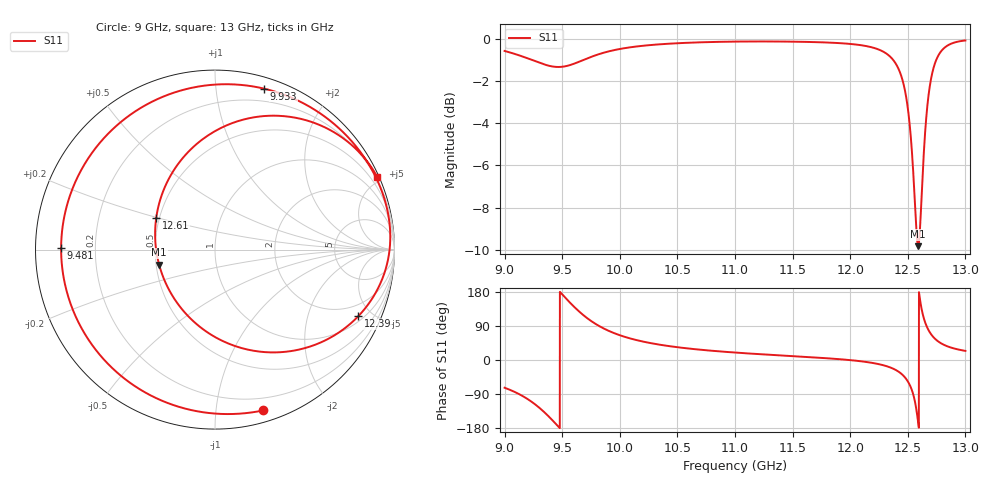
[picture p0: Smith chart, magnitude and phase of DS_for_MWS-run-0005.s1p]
! TOUCHSTONE file generated by CST DESIGN STUDIO
! Date and time: Tue Feb  4 17:42:37 2025
! Project name: C:\Work\MatlabApps\UnitCellOptimizationMatlab\CST\unitcell.cst
! Tree item: Tasks\Sweep1\SPara1\S-Parameters
! Header version: 2024
! Port assignment regex: !\s*Touchstone port\s*([0-9]+)\s*=\s*(CST MWS port|CST DES external port|CST DES block port)\s*(.+)\s* \(\"(.*)\"\)(\s*mode\s*([0-9]+))?.*
! Touchstone port assignment:
! Touchstone port 1 = CST DES external port 1 ("")
# GHz S MA R 50
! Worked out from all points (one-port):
!   4001 points, 9 GHz to 13 GHz, reference 50 ohm
!   lowest |S11| = -9.8 dB at 12.59 GHz (marker M1), VSWR 1.95, Z = 26 - j4.9 ohm
!   |S11| at or under -10 dB: nowhere
!   S11 on the Smith chart (normalised r, x): 9 GHz: 0.09, -1.34; 9.481 GHz: 0.08, +0.00; 9.933 GHz: 0.09, +1.35; 12.39 GHz: 1.26, -4.16; 12.61 GHz: 0.48, +0.20; 13 GHz: 0.11, +4.69
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9  0.9356 -73.2
9.155  0.9078 -94.9
9.267  0.8844 -117.6
9.366  0.8656 -143.9
9.481  0.8574 179.5
9.5  0.8582 173.2
9.604  0.8729 140.2
9.696  0.8934 115.3
9.799  0.9156 93.5
9.933  0.9375 73.1
10  0.9457 65.4
10.214  0.9633 47.8
10.5  0.9758 33.7
11  0.9846 19.7
11.5  0.9843 10.2
12  0.9721 -0.3
12.251  0.942 -11.1
12.387  0.8803 -24.9
12.45  0.8053 -37.9
12.5  0.6854 -56.3
12.547  0.4841 -90.6
12.59  0.3224 -164.8
12.61  0.3722 151.6
12.653  0.6137 97.2
12.699  0.7958 69.3
12.749  0.8937 52.5
12.809  0.947 40.7
13  0.9907 24.1
